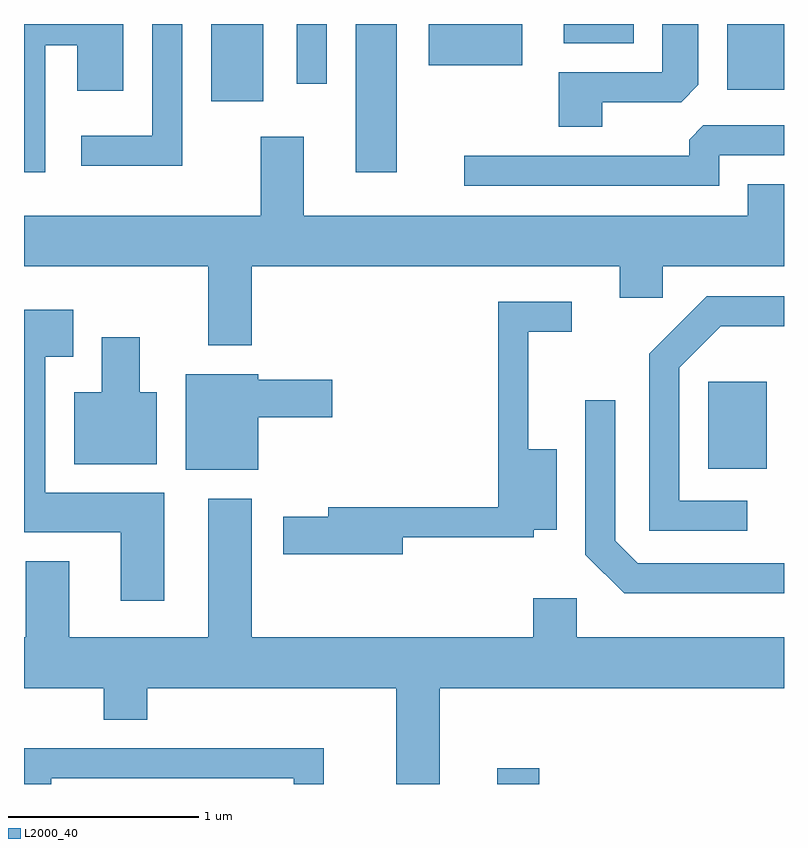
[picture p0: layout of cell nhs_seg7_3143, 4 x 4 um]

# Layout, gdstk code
import gdstk
lib = gdstk.Library(unit=1e-6, precision=1e-09)
def R(c, l, rs):  # rectangles x0, y0, x1, y1
    for r in rs: c.add(gdstk.rectangle(r[:2], r[2:], *l))
def P(c, l, *ps):  # polygons
    for p in ps: c.add(gdstk.Polygon(p, *l))
L2000_40 = (2000, 40)

nhs_seg7_3143 = lib.new_cell('nhs_seg7_3143')
R(nhs_seg7_3143, L2000_40, [(284.101,1718.252,284.324,1718.334), (285.211,1719.911,285.519,1720.369), (283.356,1721.471,283.574,1722.252), (282.596,1721.846,282.869,1722.252), (285.311,1721.906,285.611,1722.252), (283.046,1721.938,283.204,1722.252), (283.741,1722.036,284.234,1722.252), (284.451,1722.151,284.819,1722.252)])
P(nhs_seg7_3143, L2000_40, [(284.654,1721.841),(285.069,1721.841),(285.159,1721.932),(285.159,1722.252),(284.971,1722.252),(284.971,1721.999),(284.426,1721.999),(284.426,1721.711),(284.654,1721.711)],
  [(282.444,1722.252),(282.286,1722.252),(282.286,1721.664),(281.913,1721.664),(281.913,1721.506),(282.444,1721.506)],
  [(281.724,1722.141),(281.891,1722.141),(281.891,1721.901),(282.134,1721.901),(282.134,1722.252),(281.611,1722.252),(281.611,1721.471),(281.724,1721.471)],
  [(285.269,1721.561),(285.611,1721.561),(285.611,1721.719),(285.187,1721.719),(285.111,1721.644),(285.111,1721.559),(283.928,1721.559),(283.928,1721.401),(285.269,1721.401)],
  [(282.809,1720.976),(284.746,1720.976),(284.746,1720.811),(284.974,1720.811),(284.974,1720.976),(285.611,1720.976),(285.611,1721.409),(285.421,1721.409),(285.421,1721.244),(283.084,1721.244),(283.084,1721.659),(282.856,1721.659),(282.856,1721.244),(281.611,1721.244),(281.611,1720.976),(282.581,1720.976),(282.581,1720.561),(282.809,1720.561)],
  [(285.418,1719.744),(285.059,1719.744),(285.059,1720.444),(285.277,1720.661),(285.611,1720.661),(285.611,1720.819),(285.204,1720.819),(284.901,1720.517),(284.901,1719.586),(285.418,1719.586)],
  [(283.604,1719.551),(284.294,1719.551),(284.294,1719.591),(284.414,1719.591),(284.414,1720.014),(284.264,1720.014),(284.264,1720.631),(284.493,1720.631),(284.493,1720.789),(284.106,1720.789),(284.106,1719.709),(283.211,1719.709),(283.211,1719.659),(282.976,1719.659),(282.976,1719.461),(283.604,1719.461)],
  [(282.349,1719.784),(281.724,1719.784),(281.724,1720.501),(281.869,1720.501),(281.869,1720.749),(281.611,1720.749),(281.611,1719.576),(282.121,1719.576),(282.121,1719.216),(282.349,1719.216)],
  [(282.309,1720.314),(282.219,1720.314),(282.219,1720.604),(282.021,1720.604),(282.021,1720.314),(281.876,1720.314),(281.876,1719.936),(282.309,1719.936)],
  [(282.844,1720.181),(283.234,1720.181),(283.234,1720.379),(282.844,1720.379),(282.844,1720.409),(282.461,1720.409),(282.461,1719.906),(282.844,1719.906)],
  [(285.611,1719.414),(284.842,1719.414),(284.724,1719.532),(284.724,1720.273),(284.566,1720.273),(284.566,1719.459),(284.769,1719.256),(285.611,1719.256)],
  [(283.799,1718.756),(285.611,1718.756),(285.611,1719.024),(284.519,1719.024),(284.519,1719.229),(284.291,1719.229),(284.291,1719.024),(282.809,1719.024),(282.809,1719.754),(282.581,1719.754),(282.581,1719.024),(281.849,1719.024),(281.849,1719.424),(281.621,1719.424),(281.621,1719.024),(281.611,1719.024),(281.611,1718.756),(282.031,1718.756),(282.031,1718.591),(282.259,1718.591),(282.259,1718.756),(283.571,1718.756),(283.571,1718.252),(283.799,1718.252)],
  [(281.754,1718.281),(283.031,1718.281),(283.031,1718.252),(283.189,1718.252),(283.189,1718.439),(281.611,1718.439),(281.611,1718.252),(281.754,1718.252)])

lib.write_gds('nhs_seg7_3143.gds')
